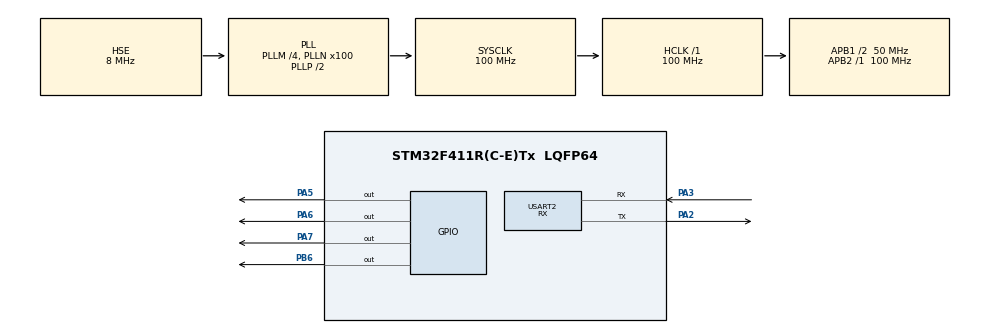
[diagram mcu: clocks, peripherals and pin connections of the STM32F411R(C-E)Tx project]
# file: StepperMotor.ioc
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Dma.Request0=USART2_RX
Dma.USART2_RX.0.Direction=DMA_PERIPH_TO_MEMORY
Dma.USART2_RX.0.FIFOMode=DMA_FIFOMODE_DISABLE
Dma.USART2_RX.0.Instance=DMA1_Stream5
Dma.USART2_RX.0.MemDataAlignment=DMA_MDATAALIGN_BYTE
Dma.USART2_RX.0.MemInc=DMA_MINC_ENABLE
Dma.USART2_RX.0.Mode=DMA_NORMAL
Dma.USART2_RX.0.PeriphDataAlignment=DMA_PDATAALIGN_BYTE
Dma.USART2_RX.0.PeriphInc=DMA_PINC_DISABLE
Dma.USART2_RX.0.Priority=DMA_PRIORITY_LOW
Mcu.Family=STM32F4
Mcu.Name=STM32F411R(C-E)Tx
Mcu.Package=LQFP64
NVIC.DMA1_Stream5_IRQn=true\:0\:0\:false\:false\:true\:false\:true\:true
NVIC.PriorityGroup=NVIC_PRIORITYGROUP_4
PA13.Mode=Serial_Wire
PA13.Signal=SYS_JTMS-SWDIO
PA14.Mode=Serial_Wire
PA14.Signal=SYS_JTCK-SWCLK
PA2.Mode=Asynchronous
PA2.Signal=USART2_TX
PA3.Mode=Asynchronous
PA3.Signal=USART2_RX
PA5.Signal=GPIO_Output
PA6.Signal=GPIO_Output
PA7.Signal=GPIO_Output
PB6.Signal=GPIO_Output
PH0\ -\ OSC_IN.Mode=HSE-External-Oscillator
PH0\ -\ OSC_IN.Signal=RCC_OSC_IN
PH1\ -\ OSC_OUT.Mode=HSE-External-Oscillator
PH1\ -\ OSC_OUT.Signal=RCC_OSC_OUT
ProjectManager.HeapSize=0x200
ProjectManager.StackSize=0x400
ProjectManager.TargetToolchain=STM32CubeIDE
RCC.48MHZClocksFreq_Value=50000000
RCC.AHBFreq_Value=100000000
RCC.APB1CLKDivider=RCC_HCLK_DIV2
RCC.APB1Freq_Value=50000000
RCC.APB1TimFreq_Value=100000000
RCC.APB2Freq_Value=100000000
RCC.APB2TimFreq_Value=100000000
RCC.CortexFreq_Value=100000000
RCC.HCLKFreq_Value=100000000
RCC.HSE_VALUE=8000000
RCC.HSI_VALUE=16000000
RCC.LSE_VALUE=32768
RCC.PLLM=4
RCC.PLLN=100
RCC.PLLSourceVirtual=RCC_PLLSOURCE_HSE
RCC.SYSCLKFreq_VALUE=100000000
RCC.SYSCLKSource=RCC_SYSCLKSOURCE_PLLCLK
RCC.VCOOutputFreq_Value=200000000
TIM10.Prescaler=100-1
USART2.Mode=MODE_RX
USART2.VirtualMode=VM_ASYNC
VP_TIM10_VS_ClockSourceINT.Mode=Enable_Timer
board=custom

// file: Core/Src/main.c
/* USER CODE BEGIN Header */
/**
  ******************************************************************************
  * @file           : main.c
  * @brief          : Main program body
  ******************************************************************************
  * @attention
  *
  * Copyright (c) 2023 STMicroelectronics.
  * All rights reserved.
  *
  * This software is licensed under terms that can be found in the LICENSE file
  * in the root directory of this software component.
  * If no LICENSE file comes with this software, it is provided AS-IS.
  *
  ******************************************************************************
  */
/* USER CODE END Header */
#include "main.h"
#include "dma.h"
#include "tim.h"
#include "usart.h"
#include "gpio.h"

/* USER CODE BEGIN Includes */
#include "stepper_motor.h"
/* USER CODE END Includes */

/* USER CODE BEGIN PV */
uint8_t buffer[11];
uint8_t buffer_idx = 0;
uint8_t rxData;

GPIO_TypeDef *stepperMotor_GPIOx[4] = {GPIOA, GPIOA, GPIOA, GPIOB};
uint16_t stepperMotor_GPIO_Pin[4] = {
        GPIO_PIN_5, GPIO_PIN_6,
        GPIO_PIN_7, GPIO_PIN_6
};
StepperMotor stepper_motor1;
/* USER CODE END PV */

void SystemClock_Config(void);
/* USER CODE BEGIN PFP */
void HAL_UART_RxCpltCallback(UART_HandleTypeDef *);
/* USER CODE END PFP */

int main(void)
{

  /* MCU Configuration--------------------------------------------------------*/

  /* Reset of all peripherals, Initializes the Flash interface and the Systick. */
  HAL_Init();

  /* Configure the system clock */
  SystemClock_Config();

  /* Initialize all configured peripherals */
  MX_GPIO_Init();
  MX_DMA_Init();
  MX_TIM10_Init();
  MX_USART2_UART_Init();
  /* USER CODE BEGIN 2 */
  HAL_UART_Receive_DMA(&huart2, &rxData, sizeof(rxData));
  HAL_TIM_Base_Start(&htim10);

  stepperMotor_init(&stepper_motor1, stepperMotor_GPIOx,
                    stepperMotor_GPIO_Pin, 32.0, 1 / 64.0,
                    CCW, FULLSTEP_WAVEDRIVE, 10);
  /* USER CODE END 2 */

  /* Infinite loop */
  while (1)
  {

  }
}

void SystemClock_Config(void)
{
  RCC_OscInitTypeDef RCC_OscInitStruct = {0};
  RCC_ClkInitTypeDef RCC_ClkInitStruct = {0};

  /** Configure the main internal regulator output voltage
  */
  __HAL_RCC_PWR_CLK_ENABLE();
  __HAL_PWR_VOLTAGESCALING_CONFIG(PWR_REGULATOR_VOLTAGE_SCALE1);

  /** Initializes the RCC Oscillators according to the specified parameters
  * in the RCC_OscInitTypeDef structure.
  */
  RCC_OscInitStruct.OscillatorType = RCC_OSCILLATORTYPE_HSE;
  RCC_OscInitStruct.HSEState = RCC_HSE_ON;
  RCC_OscInitStruct.PLL.PLLState = RCC_PLL_ON;
  RCC_OscInitStruct.PLL.PLLSource = RCC_PLLSOURCE_HSE;
  RCC_OscInitStruct.PLL.PLLM = 4;
  RCC_OscInitStruct.PLL.PLLN = 100;
  RCC_OscInitStruct.PLL.PLLP = RCC_PLLP_DIV2;
  RCC_OscInitStruct.PLL.PLLQ = 4;
  if (HAL_RCC_OscConfig(&RCC_OscInitStruct) != HAL_OK)
  {
    Error_Handler();
  }

  /** Initializes the CPU, AHB and APB buses clocks
  */
  RCC_ClkInitStruct.ClockType = RCC_CLOCKTYPE_HCLK|RCC_CLOCKTYPE_SYSCLK
                              |RCC_CLOCKTYPE_PCLK1|RCC_CLOCKTYPE_PCLK2;
  RCC_ClkInitStruct.SYSCLKSource = RCC_SYSCLKSOURCE_PLLCLK;
  RCC_ClkInitStruct.AHBCLKDivider = RCC_SYSCLK_DIV1;
  RCC_ClkInitStruct.APB1CLKDivider = RCC_HCLK_DIV2;
  RCC_ClkInitStruct.APB2CLKDivider = RCC_HCLK_DIV1;

  if (HAL_RCC_ClockConfig(&RCC_ClkInitStruct, FLASH_LATENCY_3) != HAL_OK)
  {
    Error_Handler();
  }
}

/* USER CODE BEGIN 4 */
void HAL_UART_RxCpltCallback(UART_HandleTypeDef *huart) {
    if (huart->Instance == USART2) {
        if (rxData == '\n') {
            buffer[buffer_idx] = '\0';
            buffer_idx = 0;

            int32_t angle = 0;
            int8_t idx = 0;
            while (buffer[idx]) {
                angle *= 10;
                angle += buffer[idx++] - 48;
            }

            stepperMotor_drive(&stepper_motor1, angle);
        }
        else {
            buffer[buffer_idx++] = rxData;
        }

        HAL_UART_Receive_DMA(huart, &rxData, sizeof(rxData));
    }
}
/* USER CODE END 4 */

void Error_Handler(void)
{
  __disable_irq();
  while (1)
  {
  }
}
